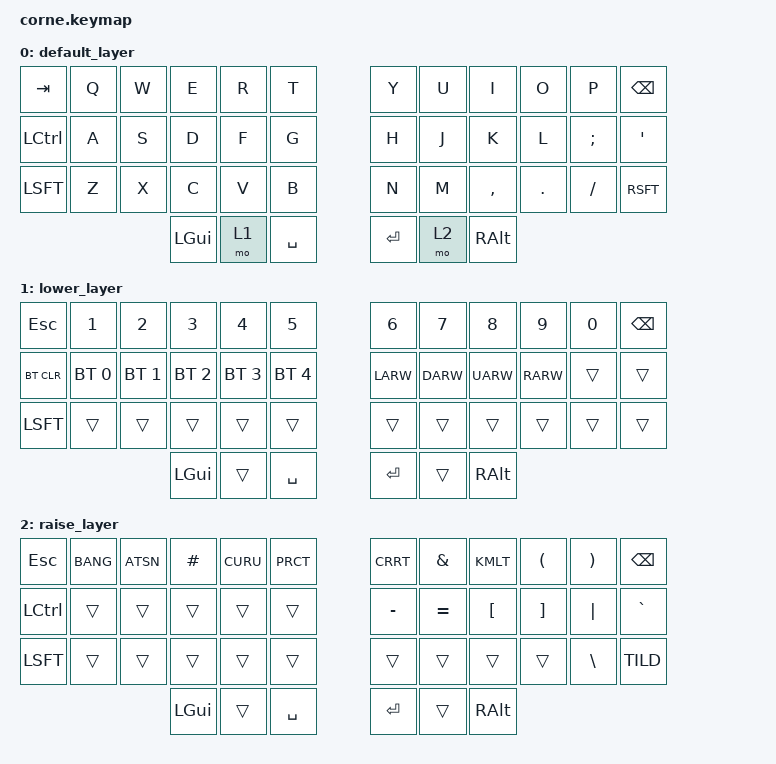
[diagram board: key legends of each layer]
/*
 * Copyright (c) 2020 The ZMK Contributors
 *
 * SPDX-License-Identifier: MIT
 */

#include <behaviors.dtsi>
#include <dt-bindings/zmk/keys.h>
#include <dt-bindings/zmk/bt.h>

/ {
        keymap {
                compatible = "zmk,keymap";

                default_layer {
// -----------------------------------------------------------------------------------------
// |  TAB |  Q  |  W  |  E  |  R  |  T  |   |  Y  |  U   |  I  |  O  |  P  | BKSP |
// | CTRL |  A  |  S  |  D  |  F  |  G  |   |  H  |  J   |  K  |  L  |  ;  |  '   |
// | SHFT |  Z  |  X  |  C  |  V  |  B  |   |  N  |  M   |  ,  |  .  |  /  | SHFT |
//                    | GUI | LWR | SPC |   | ENT | RSE  | ALT |
                        bindings = <
   &kp TAB  &kp Q &kp W &kp E &kp R &kp T   &kp Y &kp U  &kp I    &kp O   &kp P    &kp BKSP
   &kp LCTL &kp A &kp S &kp D &kp F &kp G   &kp H &kp J  &kp K    &kp L   &kp SCLN &kp QUOT
   &kp LSFT &kp Z &kp X &kp C &kp V &kp B   &kp N &kp M  &kp CMMA &kp DOT &kp FSLH &kp RSFT
                   &kp LGUI &mo 1 &kp SPC   &kp RET &mo 2 &kp RALT
                        >;
                };
                lower_layer {
// -----------------------------------------------------------------------------------------
// |  ESC |  1  |  2  |  3  |  4  |  5  |   |  6  |  7  |  8  |  9  |  0  | BKSP |
// | BTCLR| BT1 | BT2 | BT3 | BT4 | BT5 |   | LFT | DWN |  UP | RGT |     |      |
// | SHFT |     |     |     |     |     |   |     |     |     |     |     |      |
//                    | GUI |     | SPC |   | ENT |     | ALT |
                        bindings = <
   &kp ESC    &kp NUM_1    &kp NUM_2    &kp NUM_3    &kp NUM_4    &kp NUM_5         &kp NUM_6 &kp NUM_7 &kp NUM_8 &kp NUM_9 &kp NUM_0 &kp BKSP
   &bt BT_CLR &bt BT_SEL 0 &bt BT_SEL 1 &bt BT_SEL 2 &bt BT_SEL 3 &bt BT_SEL 4      &kp LARW  &kp DARW  &kp UARW  &kp RARW  &trans    &trans
   &kp LSFT   &trans       &trans       &trans       &trans       &trans            &trans    &trans    &trans    &trans    &trans    &trans
                                        &kp LGUI     &trans       &kp SPC           &kp RET &trans &kp RALT
                        >;
                };

                raise_layer {
// -----------------------------------------------------------------------------------------
// |  ESC |  !  |  @  |  #  |  $  |  %  |   |  ^  |  &  |  *  |  (  |  )  | BKSP |
// | CTRL |   F1  |  F2   |     |     |     |   |  -  |  =  |  {  |  }  | "|" |  `   |
// | SHFT |     |     |     |     |     |   |  _  |  +  |  [  |  ]  |  \  |  ~   | // TODO: Fix this row when &mkp is committed
//                    | GUI |     | SPC |   | ENT |     | ALT |
                        bindings = <
   &kp  ESC &kp BANG  &kp ATSN  &kp HASH  &kp CURU  &kp PRCT    &kp CRRT  &kp AMPS &kp KMLT &kp LPRN &kp RPRN &kp BKSP
   &kp LCTL &trans    &trans    &trans    &trans    &trans      &kp MINUS &kp EQL  &kp LBKT &kp RBKT &kp PIPE &kp GRAV
   &kp LSFT &trans    &trans    &trans    &trans    &trans      &trans    &trans   &trans   &trans   &kp BSLH &kp TILD
                                      &kp LGUI &trans &kp SPC   &kp RET &trans &kp RALT
                        >;
                };

        };
};

